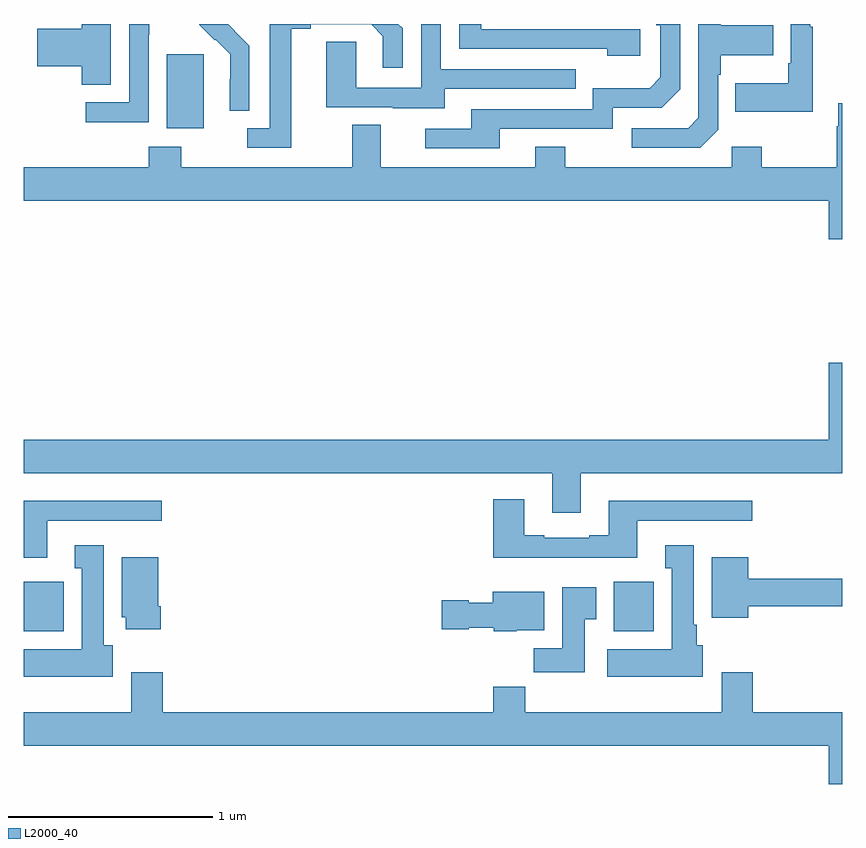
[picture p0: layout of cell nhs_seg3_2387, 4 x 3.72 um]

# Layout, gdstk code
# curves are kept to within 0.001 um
import gdstk
lib = gdstk.Library(unit=1e-6, precision=1e-09)
def R(c, l, rs):  # rectangles x0, y0, x1, y1
    for r in rs: c.add(gdstk.rectangle(r[:2], r[2:], *l))
def P(c, l, *ps):  # polygons
    for p in ps: c.add(gdstk.Polygon(p, *l))
L2000_40 = (2000, 40)

nhs_seg3_2387 = lib.new_cell('nhs_seg3_2387')
R(nhs_seg3_2387, L2000_40, [(233,745.43,233.194,745.672), (235.883,745.43,236.08,745.672), (233.699,747.89,233.878,748.251)])
P(nhs_seg3_2387, L2000_40, [(233.425,748.4),(233.282,748.4),(233.282,748.376),(233.064,748.376),(233.064,748.193),(233.282,748.193),(233.282,748.102),(233.425,748.102)],
  [(236.014,748.374),(235.237,748.374),(235.237,748.4),(235.128,748.4),(235.128,748.278),(235.853,748.278),(235.853,748.244),(236.014,748.244)],
  [(234.102,748.294),(233.998,748.4),(233.857,748.4),(233.857,748.397),(233.934,748.32),(233.937,748.323),(234.008,748.253),(234.008,748.13),(234.006,748.13),(234.006,747.976),(234.102,747.976)],
  [(233.61,748.348),(233.613,748.348),(233.613,748.4),(233.514,748.4),(233.514,748.017),(233.301,748.017),(233.301,747.919),(233.61,747.919)],
  [(236.857,748.387),(236.845,748.387),(236.845,748.4),(236.748,748.4),(236.748,748.207),(236.736,748.207),(236.736,748.111),(236.479,748.111),(236.479,747.971),(236.857,747.971)],
  [(234.307,748.376),(234.403,748.376),(234.403,748.398),(234.698,748.398),(234.755,748.341),(234.755,748.185),(234.852,748.185),(234.852,748.378),(234.83,748.4),(234.202,748.4),(234.203,747.891),(234.093,747.891),(234.093,747.795),(234.307,747.795)],
  [(235.327,747.888),(235.878,747.888),(235.878,747.99),(236.118,747.99),(236.208,748.08),(236.208,748.4),(236.092,748.4),(236.092,748.394),(236.112,748.394),(236.112,748.14),(236.059,748.087),(235.782,748.087),(235.782,747.984),(235.187,747.984),(235.187,747.888),(234.963,747.888),(234.963,747.792),(235.327,747.792)],
  [(236.394,747.882),(236.394,748.151),(236.407,748.151),(236.407,748.247),(236.663,748.247),(236.663,748.395),(236.407,748.395),(236.407,748.4),(236.298,748.4),(236.298,747.942),(236.247,747.891),(235.971,747.891),(235.971,747.795),(236.307,747.795)],
  [(235.057,748.083),(235.697,748.083),(235.697,748.179),(235.038,748.179),(235.038,748.4),(234.942,748.4),(234.942,748.089),(234.624,748.089),(234.624,748.313),(234.479,748.313),(234.479,747.993),(234.803,747.993),(234.803,747.989),(235.057,747.989)],
  [(236.46,747.799),(236.46,747.7),(235.647,747.7),(235.647,747.799),(235.499,747.799),(235.499,747.7),(234.745,747.7),(234.745,747.908),(234.605,747.908),(234.605,747.7),(233.769,747.7),(233.769,747.799),(233.609,747.799),(233.609,747.7),(233,747.7),(233,747.536),(236.936,747.536),(236.936,747.348),(237,747.348),(237,748.012),(236.981,748.012),(236.981,747.899),(236.974,747.899),(236.974,747.7),(236.607,747.7),(236.607,747.799)],
  [(235.723,746.204),(237,746.204),(237,746.743),(236.936,746.743),(236.936,746.368),(233,746.368),(233,746.204),(235.583,746.204),(235.583,746.01),(235.723,746.01)],
  [(235.999,745.971),(236.56,745.971),(236.56,746.068),(235.859,746.068),(235.859,745.9),(235.763,745.9),(235.763,745.887),(235.543,745.887),(235.543,745.9),(235.447,745.9),(235.447,746.077),(235.295,746.077),(235.295,745.79),(235.999,745.79)],
  [(233.113,745.971),(233.674,745.971),(233.674,746.068),(233,746.068),(233,745.79),(233.113,745.79)],
  [(236.32,745.362),(236.29,745.362),(236.29,745.462),(236.275,745.462),(236.275,745.852),(236.135,745.852),(236.135,745.739),(236.168,745.739),(236.168,745.342),(235.851,745.342),(235.851,745.208),(236.32,745.208)],
  [(233.434,745.362),(233.389,745.362),(233.389,745.852),(233.249,745.852),(233.249,745.739),(233.282,745.739),(233.282,745.342),(233,745.342),(233,745.208),(233.434,745.208)],
  [(233.669,745.552),(233.656,745.552),(233.656,745.792),(233.477,745.792),(233.477,745.5),(233.498,745.5),(233.498,745.44),(233.669,745.44)],
  [(236.542,745.552),(237,745.552),(237,745.688),(236.542,745.688),(236.542,745.792),(236.363,745.792),(236.363,745.496),(236.542,745.496)],
  [(235.741,745.489),(235.798,745.489),(235.798,745.645),(235.631,745.645),(235.631,745.348),(235.492,745.348),(235.492,745.23),(235.741,745.23)],
  [(235.41,745.436),(235.543,745.436),(235.543,745.624),(235.292,745.624),(235.292,745.57),(235.176,745.57),(235.176,745.583),(235.044,745.583),(235.044,745.441),(235.176,745.441),(235.176,745.448),(235.296,745.448),(235.296,745.43),(235.41,745.43)],
  [(237,745.036),(236.564,745.036),(236.564,745.231),(236.411,745.231),(236.411,745.036),(235.451,745.036),(235.451,745.16),(235.295,745.16),(235.295,745.036),(233.678,745.036),(233.678,745.231),(233.525,745.231),(233.525,745.036),(233,745.036),(233,744.872),(236.936,744.872),(236.936,744.684),(237,744.684)])

lib.write_gds('nhs_seg3_2387.gds')
